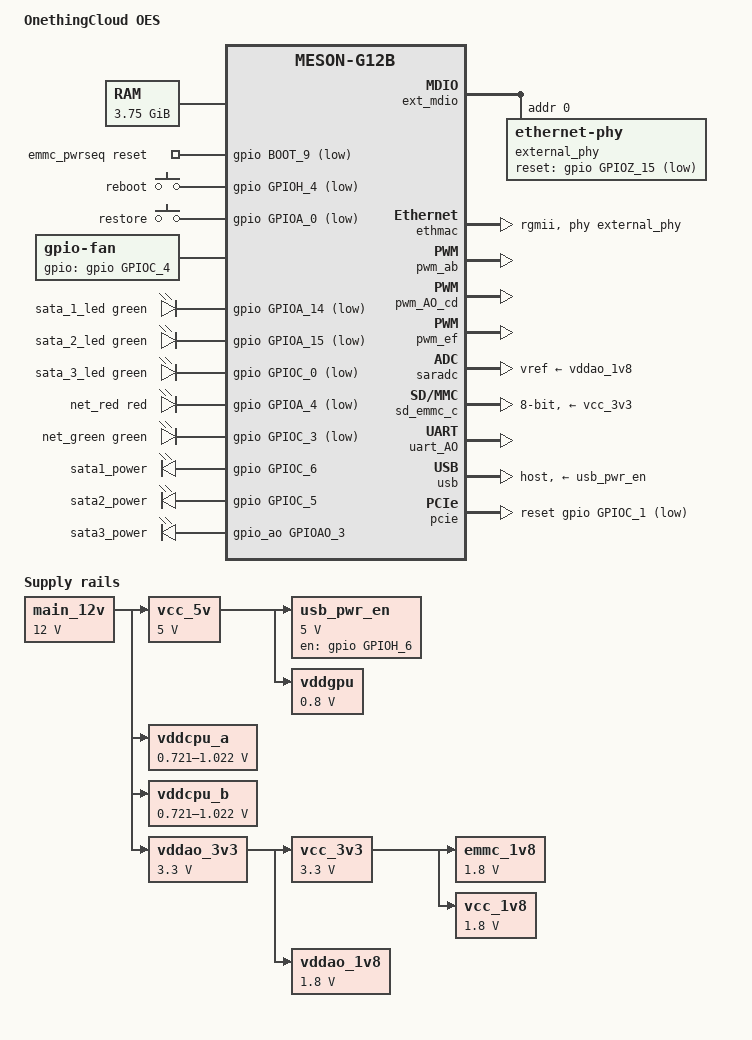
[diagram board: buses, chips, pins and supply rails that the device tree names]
// SPDX-License-Identifier: (GPL-2.0+ OR MIT)
/dts-v1/;

#include "meson-g12b.dtsi"
// #include "meson-g12b-s922x.dtsi"
#include "meson-g12b-a311d.dtsi"
#include <dt-bindings/input/input.h>
#include <dt-bindings/leds/common.h>
#include <dt-bindings/gpio/meson-g12a-gpio.h>

/ {
	compatible = "onethingcloud,oes", "amlogic,s922x", "amlogic,g12b";
	model = "OnethingCloud OES";

	aliases {
		serial0 = &uart_AO;
		ethernet0 = &ethmac;
	};

	chosen {
		stdout-path = "serial0:115200n8";
	};

	memory@0 {
		device_type = "memory";
		// reg = <0x0 0x0 0x0 0xff000000>; // pcie broken
		reg = <0x0 0x0 0x0 0xF0000000>;
	};

	emmc_pwrseq: emmc-pwrseq {
		compatible = "mmc-pwrseq-emmc";
		reset-gpios = <&gpio BOOT_9 GPIO_ACTIVE_LOW>; // bsp
	};

	gpio-keys-polled {
		compatible = "gpio-keys-polled";
		poll-interval = <100>;

		reboot-button {
			label = "reboot";
			linux,code = <KEY_POWER>;
			gpios = <&gpio GPIOH_4 GPIO_ACTIVE_LOW>; // verify
		};
		restore-button {
			label = "restore";
			linux,code = <KEY_KPEQUAL>;
			gpios = <&gpio GPIOA_0 GPIO_ACTIVE_LOW>; // bsp
		};
	};

	emmc_1v8: regulator-emmc-1v8 {
		compatible = "regulator-fixed";
		regulator-name = "EMMC_1V8";
		regulator-min-microvolt = <1800000>;
		regulator-max-microvolt = <1800000>;
		vin-supply = <&vcc_3v3>;
		regulator-always-on;
	};

	main_12v: regulator-main-12v {
		compatible = "regulator-fixed";
		regulator-name = "12V";
		regulator-min-microvolt = <12000000>;
		regulator-max-microvolt = <12000000>;
		regulator-always-on;
	};

	vcc_5v: regulator-vcc-5v {
		compatible = "regulator-fixed";
		regulator-name = "VCC_5V";
		regulator-min-microvolt = <5000000>;
		regulator-max-microvolt = <5000000>;
		vin-supply = <&main_12v>;
	};

	vcc_1v8: regulator-vcc-1v8 {
		compatible = "regulator-fixed";
		regulator-name = "VCC_1V8";
		regulator-min-microvolt = <1800000>;
		regulator-max-microvolt = <1800000>;
		vin-supply = <&vcc_3v3>;
		regulator-always-on;
	};

	vcc_3v3: regulator-vcc-3v3 {
		compatible = "regulator-fixed";
		regulator-name = "VCC_3V3";
		regulator-min-microvolt = <3300000>;
		regulator-max-microvolt = <3300000>;
		vin-supply = <&vddao_3v3>;
		regulator-always-on;
		/* FIXME: actually controlled by VDDCPU_B_EN */
	};

	vddcpu_a: regulator-vddcpu-a {
		compatible = "pwm-regulator";

		regulator-name = "VDDCPU_A";
		regulator-min-microvolt = <721000>;
		regulator-max-microvolt = <1022000>;

		pwm-supply = <&main_12v>;

		pwms = <&pwm_ab 0 1250 0>;
		pwm-dutycycle-range = <100 0>;

		regulator-boot-on;
		regulator-always-on;
	};

	vddcpu_b: regulator-vddcpu-b {
		compatible = "pwm-regulator";

		regulator-name = "VDDCPU_B";
		regulator-min-microvolt = <721000>;
		regulator-max-microvolt = <1022000>;

		pwm-supply = <&main_12v>;

		pwms = <&pwm_AO_cd 1 1250 0>;
		pwm-dutycycle-range = <100 0>;

		regulator-boot-on;
		regulator-always-on;
	};

	usb_pwr_en: regulator-usb-pwr-en {
		compatible = "regulator-fixed";
		regulator-name = "USB_PWR_EN";
		regulator-min-microvolt = <5000000>;
		regulator-max-microvolt = <5000000>;
		vin-supply = <&vcc_5v>;

		gpio = <&gpio GPIOH_6 GPIO_ACTIVE_HIGH>; // verify
		enable-active-high;
	};

	vddao_1v8: regulator-vddao-1v8 {
		compatible = "regulator-fixed";
		regulator-name = "VDDAO_1V8";
		regulator-min-microvolt = <1800000>;
		regulator-max-microvolt = <1800000>;
		vin-supply = <&vddao_3v3>;
		regulator-always-on;
	};

	vddao_3v3: regulator-vddao-3v3 {
		compatible = "regulator-fixed";
		regulator-name = "VDDAO_3V3";
		regulator-min-microvolt = <3300000>;
		regulator-max-microvolt = <3300000>;
		vin-supply = <&main_12v>;
		regulator-always-on;
	};

	fan: gpio-fan {
		compatible = "gpio-fan";
		// gpios = <&gpio GPIOC_5 GPIO_ACTIVE_HIGH>; // bsp
		gpios = <&gpio GPIOC_4 GPIO_ACTIVE_HIGH>; // verify

		/* Using Dummy Speed */
		gpio-fan,speed-map = <0 0>, <1 1>;
		#cooling-cells = <2>;
	};

	leds {
		compatible = "gpio-leds";
		status = "okay";

		sata_1_led {
			label = "sata_1_led";
			color = <LED_COLOR_ID_GREEN>;
			gpios = <&gpio GPIOA_14 GPIO_ACTIVE_LOW>; // verify
			default-state = "off";
		};
		sata_2_led {
			label = "sata_2_led";
			color = <LED_COLOR_ID_GREEN>;
			gpios = <&gpio GPIOA_15 GPIO_ACTIVE_LOW>; // verify
			default-state = "off";
		};
		sata_3_led {
			label = "sata_3_led";
			color = <LED_COLOR_ID_GREEN>;
			gpios = <&gpio GPIOC_0 GPIO_ACTIVE_LOW>; // verify
			default-state = "off";
		};
		net_red {
			label = "net_red";
			color = <LED_COLOR_ID_RED>;
			gpios = <&gpio GPIOA_4 GPIO_ACTIVE_LOW>; // verify
			default-state = "off";
		};
		net_green {
			label = "net_green";
			color = <LED_COLOR_ID_GREEN>;
			gpios = <&gpio GPIOC_3 GPIO_ACTIVE_LOW>; // verify
			default-state = "off";
		};

		sata1_power {
			label = "sata1_power";
			gpios = <&gpio GPIOC_6 GPIO_ACTIVE_HIGH>;
			default-state = "on";
			retain-state-suspended;
		};
		sata2_power {
			label = "sata2_power";
			gpios = <&gpio GPIOC_5 GPIO_ACTIVE_HIGH>;
			default-state = "on";
			retain-state-suspended;
		};
		sata3_power {
			label = "sata3_power";
			gpios = <&gpio_ao GPIOAO_3 GPIO_ACTIVE_HIGH>;
			default-state = "on";
			retain-state-suspended;
		};
	};

	vddgpu: regulator-vddgpu {
		compatible = "regulator-fixed";
		regulator-name = "mali";
		regulator-min-microvolt = <800000>;
		regulator-max-microvolt = <800000>;
		vin-supply = <&vcc_5v>;
		regulator-boot-on;
		regulator-always-on;
	};
};

&cpu0 {
	cpu-supply = <&vddcpu_b>;
	operating-points-v2 = <&cpu_opp_table_0>;
	clocks = <&clkc CLKID_CPU_CLK>;
	clock-latency = <50000>;
};

&cpu1 {
	cpu-supply = <&vddcpu_b>;
	operating-points-v2 = <&cpu_opp_table_0>;
	clocks = <&clkc CLKID_CPU_CLK>;
	clock-latency = <50000>;
};

&cpu100 {
	cpu-supply = <&vddcpu_a>;
	operating-points-v2 = <&cpub_opp_table_1>;
	clocks = <&clkc CLKID_CPUB_CLK>;
	clock-latency = <50000>;
};

&cpu101 {
	cpu-supply = <&vddcpu_a>;
	operating-points-v2 = <&cpub_opp_table_1>;
	clocks = <&clkc CLKID_CPUB_CLK>;
	clock-latency = <50000>;
};

&cpu102 {
	cpu-supply = <&vddcpu_a>;
	operating-points-v2 = <&cpub_opp_table_1>;
	clocks = <&clkc CLKID_CPUB_CLK>;
	clock-latency = <50000>;
};

&cpu103 {
	cpu-supply = <&vddcpu_a>;
	operating-points-v2 = <&cpub_opp_table_1>;
	clocks = <&clkc CLKID_CPUB_CLK>;
	clock-latency = <50000>;
};

&mali {
	mali-supply=<&vddgpu>;
};

// &npu {
// 	status = "okay";
// };

&cpu_thermal {
	trips {
		cpu_active: cpu-active {
			temperature = <60000>; /* millicelsius */
			hysteresis = <2000>; /* millicelsius */
			type = "active";
		};
	};

	cooling-maps {
		map {
			trip = <&cpu_active>;
			cooling-device = <&fan THERMAL_NO_LIMIT THERMAL_NO_LIMIT>;
		};
	};
};

#ifndef IRQID_GPIOZ_14
#define IRQID_GPIOZ_14 26
#endif
&ext_mdio {
	external_phy: ethernet-phy@0 {
		/* Realtek RTL8211F (0x001cc916) */
		reg = <0>;
		max-speed = <1000>;

		reset-assert-us = <10000>;
		reset-deassert-us = <80000>;
		reset-gpios = <&gpio GPIOZ_15 (GPIO_ACTIVE_LOW | GPIO_OPEN_DRAIN)>;

		interrupt-parent = <&gpio_intc>;
		/* MAC_INTR on GPIOZ_14 */
		interrupts = <IRQID_GPIOZ_14 IRQ_TYPE_LEVEL_LOW>;
	};
};

&ethmac {
	pinctrl-0 = <&eth_pins>, <&eth_rgmii_pins>;
	pinctrl-names = "default";
	status = "okay";
	phy-mode = "rgmii";
	phy-handle = <&external_phy>;
	amlogic,tx-delay-ns = <2>;
};

&pwm_ab {
	pinctrl-0 = <&pwm_a_e_pins>;
	pinctrl-names = "default";
	clocks = <&xtal>;
	clock-names = "clkin0";
	status = "okay";
};

&pwm_AO_cd {
	pinctrl-0 = <&pwm_ao_d_e_pins>;
	pinctrl-names = "default";
	clocks = <&xtal>;
	clock-names = "clkin1";
	status = "okay";
};

&pwm_ef {
	pinctrl-0 = <&pwm_e_pins>;
	pinctrl-names = "default";
	clocks = <&xtal>;
	clock-names = "clkin0";
	status = "okay";
};

&saradc {
	vref-supply = <&vddao_1v8>;
	status = "okay";
};

/* eMMC */
&sd_emmc_c {
	status = "okay";
	pinctrl-0 = <&emmc_ctrl_pins>, <&emmc_data_8b_pins>, <&emmc_ds_pins>;
	pinctrl-1 = <&emmc_clk_gate_pins>;
	pinctrl-names = "default", "clk-gate";

	bus-width = <8>;
	cap-mmc-highspeed;
	mmc-hs200-1_8v;
	mmc-ddr-1_8v;
	max-frequency = <200000000>;
	disable-wp;

	mmc-pwrseq = <&emmc_pwrseq>;
	vmmc-supply = <&vcc_3v3>;
	vqmmc-supply = <&emmc_1v8>;
};

&uart_AO {
	status = "okay";
	pinctrl-0 = <&uart_ao_a_pins>;
	pinctrl-names = "default";
};

&usb {
	status = "okay";
	dr_mode = "host";
	vbus-supply = <&usb_pwr_en>;
};

&usb2_phy0 {
	phy-supply = <&usb_pwr_en>;
};

&usb2_phy1 {
	phy-supply = <&usb_pwr_en>;
};

&pcie {
	status = "okay";
	reset-gpios = <&gpio GPIOC_1 GPIO_ACTIVE_LOW>; // bsp
};

&usb3_pcie_phy {
	phy-supply = <&usb_pwr_en>;
};

// &ethmac {
// 	snps,aal;
// 	snps,rxpbl = <0x8>;
// 	snps,txpbl = <0x8>;

// 	rx-fifo-depth = <4096>;
// 	tx-fifo-depth = <4096>;
// };

